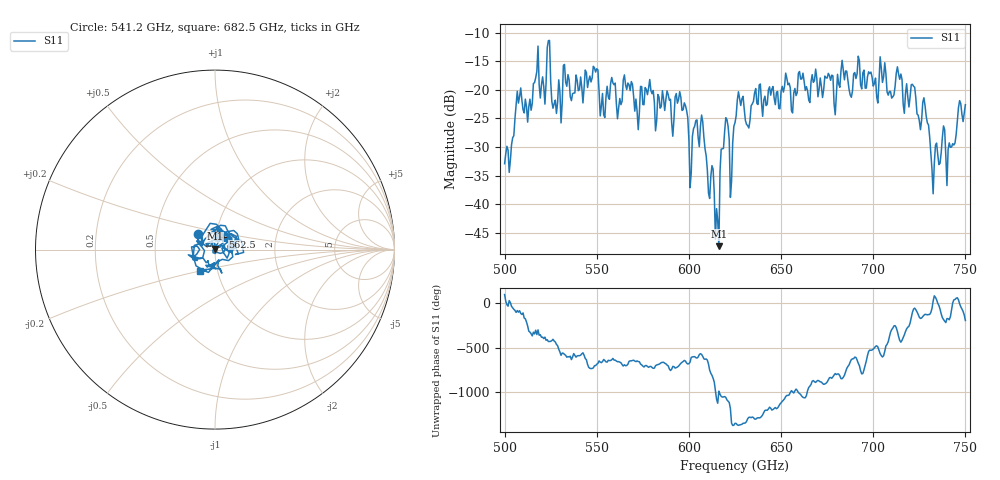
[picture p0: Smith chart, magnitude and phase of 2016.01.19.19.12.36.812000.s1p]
!Created with skrf (http://scikit-rf.org).
# GHz S RI R 50.0
!freq ReS11 ImS11
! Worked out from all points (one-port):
!   401 points, 500 GHz to 750 GHz, reference 50 ohm
!   lowest |S11| = -47.4 dB at 616.2 GHz (marker M1), VSWR 1.01, Z = 50 + j0.428 ohm
!   |S11| at or under -10 dB: start of sweep to end of sweep
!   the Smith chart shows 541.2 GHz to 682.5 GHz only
!   S11 on the Smith chart (normalised r, x): 541.2 GHz: 0.82, +0.15; 562.5 GHz: 1.08, +0.16; 682.5 GHz: 0.82, -0.20
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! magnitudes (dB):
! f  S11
! 500 GHz  -32.9
! 507.5 GHz  -22.3
! 513.8 GHz  -21.7
! 516.9 GHz  -17.9
! 531.2 GHz  -22.3
! 541.2 GHz  -17.8
! 549.4 GHz  -16.9
! 553.1 GHz  -20.7
! 558.8 GHz  -18.8
! 562.5 GHz  -21.5
! 565.6 GHz  -19.1
! 571.9 GHz  -23.7
! 593.8 GHz  -22.4
! 601.2 GHz  -34.5
! 607.5 GHz  -25.6
! 615 GHz  -40.8
! 616.2 GHz  -47.4
! 619.4 GHz  -27.3
! 623.1 GHz  -36.0
! 625 GHz  -25.8
! 656.2 GHz  -24.1
! 682.5 GHz  -16.7
! 687.5 GHz  -20.9
! 705 GHz  -18.7
! 718.8 GHz  -21.3
! 728.1 GHz  -22.8
! 732.5 GHz  -38.2
! 750 GHz  -22.6
